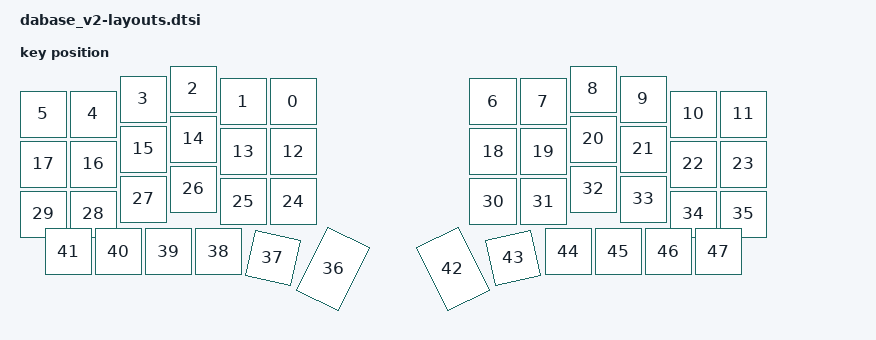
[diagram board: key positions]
/*
 * Copyright (c) 2020 The ZMK Contributors
 *
 * SPDX-License-Identifier: MIT
 */

#include <physical_layouts.dtsi>

/ {
    dabase_layout: dabase_layout {
        compatible = "zmk,physical-layout";
        display-name = "Default";

        keys
            // row 0: RC(0,5)  RC(0,4)  RC(0,3)  RC(0,2)  RC(0,1)  RC(0,0)      RC(0,6)  RC(0,7)  RC(0,8)  RC(0,9)  RC(0,10) RC(0,11)
            = <&key_physical_attrs 100 100  500  25    0    0    0>
            , <&key_physical_attrs 100 100  400  25    0    0    0>
            , <&key_physical_attrs 100 100  300   0    0    0    0>
            , <&key_physical_attrs 100 100  200  20    0    0    0>
            , <&key_physical_attrs 100 100  100  50    0    0    0>
            , <&key_physical_attrs 100 100    0  50    0    0    0>
            , <&key_physical_attrs 100 100  900  25    0    0    0>
            , <&key_physical_attrs 100 100 1000  25    0    0    0>
            , <&key_physical_attrs 100 100 1100   0    0    0    0>
            , <&key_physical_attrs 100 100 1200  20    0    0    0>
            , <&key_physical_attrs 100 100 1300  50    0    0    0>
            , <&key_physical_attrs 100 100 1400  50    0    0    0>

            // row 1: RC(1,5)  RC(1,4)  RC(1,3)  RC(1,2)  RC(1,1)  RC(1,0)      RC(1,6)  RC(1,7)  RC(1,8)  RC(1,9)  RC(1,10) RC(1,11)
            , <&key_physical_attrs 100 100  500 125    0    0    0>
            , <&key_physical_attrs 100 100  400 125    0    0    0>
            , <&key_physical_attrs 100 100  300 100    0    0    0>
            , <&key_physical_attrs 100 100  200 120    0    0    0>
            , <&key_physical_attrs 100 100  100 150    0    0    0>
            , <&key_physical_attrs 100 100    0 150    0    0    0>
            , <&key_physical_attrs 100 100  900 125    0    0    0>
            , <&key_physical_attrs 100 100 1000 125    0    0    0>
            , <&key_physical_attrs 100 100 1100 100    0    0    0>
            , <&key_physical_attrs 100 100 1200 120    0    0    0>
            , <&key_physical_attrs 100 100 1300 150    0    0    0>
            , <&key_physical_attrs 100 100 1400 150    0    0    0>

            // row 2: RC(2,5)  RC(2,4)  RC(2,3)  RC(2,2)  RC(2,1)  RC(2,0)      RC(2,6)  RC(2,7)  RC(2,8)  RC(2,9)  RC(2,10) RC(2,11)
            , <&key_physical_attrs 100 100  500 225    0    0    0>
            , <&key_physical_attrs 100 100  400 225    0    0    0>
            , <&key_physical_attrs 100 100  300 200    0    0    0>
            , <&key_physical_attrs 100 100  200 220    0    0    0>
            , <&key_physical_attrs 100 100  100 250    0    0    0>
            , <&key_physical_attrs 100 100    0 250    0    0    0>
            , <&key_physical_attrs 100 100  900 225    0    0    0>
            , <&key_physical_attrs 100 100 1000 225    0    0    0>
            , <&key_physical_attrs 100 100 1100 200    0    0    0>
            , <&key_physical_attrs 100 100 1200 220    0    0    0>
            , <&key_physical_attrs 100 100 1300 250    0    0    0>
            , <&key_physical_attrs 100 100 1400 250    0    0    0>

            // row 3: RC(3,5)  RC(3,4)  RC(3,3)  RC(3,2)  RC(3,1)  RC(3,0)      RC(3,6)  RC(3,7)  RC(3,8)  RC(3,9)  RC(3,10) RC(3,11)
            , <&key_physical_attrs 100 150  550 305 2600  550 460>
            , <&key_physical_attrs 100 100  450 325 1300  450 425>
            , <&key_physical_attrs 100 100  350 325    0    0   0>
            , <&key_physical_attrs 100 100  250 325    0    0   0>
            , <&key_physical_attrs 100 100  150 325    0    0   0>
            , <&key_physical_attrs 100 100   50 325    0    0   0>
            , <&key_physical_attrs 100 150  850 305 (-2600) 950 460>
            , <&key_physical_attrs 100 100  950 325 (-1300) 1050 425>
            , <&key_physical_attrs 100 100 1050 325    0    0   0>
            , <&key_physical_attrs 100 100 1150 325    0    0   0>
            , <&key_physical_attrs 100 100 1250 325    0    0   0>
            , <&key_physical_attrs 100 100 1350 325    0    0   0>
            ;
    };
};
